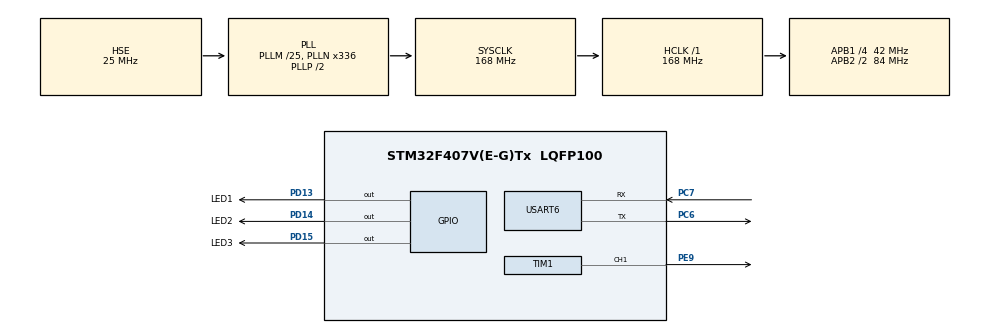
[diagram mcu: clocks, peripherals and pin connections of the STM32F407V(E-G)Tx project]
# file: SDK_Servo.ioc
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Mcu.Family=STM32F4
Mcu.Name=STM32F407V(E-G)Tx
Mcu.Package=LQFP100
NVIC.PriorityGroup=NVIC_PRIORITYGROUP_4
PA13.Mode=JTAG_5_pins
PA13.Signal=SYS_JTMS-SWDIO
PA14.Mode=JTAG_5_pins
PA14.Signal=SYS_JTCK-SWCLK
PA15.Mode=JTAG_5_pins
PA15.Signal=SYS_JTDI
PB3.Mode=JTAG_5_pins
PB3.Signal=SYS_JTDO-SWO
PB4.Mode=JTAG_5_pins
PB4.Signal=SYS_JTRST
PC6.Mode=Asynchronous
PC6.Signal=USART6_TX
PC7.Mode=Asynchronous
PC7.Signal=USART6_RX
PD13.GPIO_Label=LED1
PD13.Signal=GPIO_Output
PD14.GPIO_Label=LED2
PD14.Signal=GPIO_Output
PD15.GPIO_Label=LED3
PD15.Signal=GPIO_Output
PE9.GPIO_Speed=GPIO_SPEED_FREQ_HIGH
PE9.Signal=S_TIM1_CH1
PH0-OSC_IN.Mode=HSE-External-Oscillator
PH0-OSC_IN.Signal=RCC_OSC_IN
PH1-OSC_OUT.Mode=HSE-External-Oscillator
PH1-OSC_OUT.Signal=RCC_OSC_OUT
ProjectManager.HeapSize=0x200
ProjectManager.StackSize=0x400
ProjectManager.TargetToolchain=SW4STM32
RCC.48MHZClocksFreq_Value=84000000
RCC.AHBFreq_Value=168000000
RCC.APB1CLKDivider=RCC_HCLK_DIV4
RCC.APB1Freq_Value=42000000
RCC.APB1TimFreq_Value=84000000
RCC.APB2CLKDivider=RCC_HCLK_DIV2
RCC.APB2Freq_Value=84000000
RCC.APB2TimFreq_Value=168000000
RCC.CortexFreq_Value=168000000
RCC.HCLKFreq_Value=168000000
RCC.HSE_VALUE=25000000
RCC.HSI_VALUE=16000000
RCC.LSE_VALUE=32768
RCC.PLLM=25
RCC.PLLN=336
RCC.PLLSourceVirtual=RCC_PLLSOURCE_HSE
RCC.SYSCLKFreq_VALUE=168000000
RCC.SYSCLKSource=RCC_SYSCLKSOURCE_PLLCLK
RCC.VCOOutputFreq_Value=336000000
SH.S_TIM1_CH1.0=TIM1_CH1,PWM Generation1 CH1
TIM1.Channel-PWM\ Generation1\ CH1=TIM_CHANNEL_1
TIM1.Period=19999
TIM1.Prescaler=167
USART6.VirtualMode=VM_ASYNC
VP_TIM1_VS_ClockSourceINT.Mode=Internal
board=custom

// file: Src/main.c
/* USER CODE BEGIN Header */
/**
  ******************************************************************************
  * @file           : main.c
  * @brief          : Main program body
  ******************************************************************************
  * @attention
  *
  * <h2><center>&copy; Copyright (c) 2019 STMicroelectronics.
  * All rights reserved.</center></h2>
  *
  * This software component is licensed by ST under BSD 3-Clause license,
  * the "License"; You may not use this file except in compliance with the
  * License. You may obtain a copy of the License at:
  *                        opensource.org/licenses/BSD-3-Clause
  *
  ******************************************************************************
  */
/* USER CODE END Header */

#include "main.h"
#include "tim.h"
#include "usart.h"
#include "gpio.h"

void SystemClock_Config(void);
/* USER CODE BEGIN PFP */
void Toggle_Led(void);
void SRV_SetAngle(uint16_t o);
/* USER CODE END PFP */

int main(void)
{

  /* MCU Configuration--------------------------------------------------------*/

  /* Reset of all peripherals, Initializes the Flash interface and the Systick. */
  HAL_Init();

  /* Configure the system clock */
  SystemClock_Config();

  /* Initialize all configured peripherals */
  MX_GPIO_Init();
  MX_USART6_UART_Init();
  MX_TIM1_Init();
  /* USER CODE BEGIN 2 */
  HAL_TIM_OC_Start(&htim1, TIM_CHANNEL_1);
  HAL_TIMEx_PWMN_Start(&htim1, TIM_CHANNEL_1);
  HAL_GPIO_WritePin(LED3_GPIO_Port, LED3_Pin, GPIO_PIN_SET);
  HAL_GPIO_WritePin(LED1_GPIO_Port, LED1_Pin, GPIO_PIN_RESET);
  /* USER CODE END 2 */

  /* Infinite loop */
  while (1)
  {

    /* USER CODE BEGIN 3 */
	  SRV_SetAngle(0);
	  Toggle_Led();
	  HAL_Delay(1000);
	  SRV_SetAngle(180);
	  Toggle_Led();
	  HAL_Delay(1000);
  }
  /* USER CODE END 3 */
}

void SystemClock_Config(void)
{
  RCC_OscInitTypeDef RCC_OscInitStruct = {0};
  RCC_ClkInitTypeDef RCC_ClkInitStruct = {0};

  /** Configure the main internal regulator output voltage
  */
  __HAL_RCC_PWR_CLK_ENABLE();
  __HAL_PWR_VOLTAGESCALING_CONFIG(PWR_REGULATOR_VOLTAGE_SCALE1);
  /** Initializes the CPU, AHB and APB busses clocks
  */
  RCC_OscInitStruct.OscillatorType = RCC_OSCILLATORTYPE_HSE;
  RCC_OscInitStruct.HSEState = RCC_HSE_ON;
  RCC_OscInitStruct.PLL.PLLState = RCC_PLL_ON;
  RCC_OscInitStruct.PLL.PLLSource = RCC_PLLSOURCE_HSE;
  RCC_OscInitStruct.PLL.PLLM = 25;
  RCC_OscInitStruct.PLL.PLLN = 336;
  RCC_OscInitStruct.PLL.PLLP = RCC_PLLP_DIV2;
  RCC_OscInitStruct.PLL.PLLQ = 4;
  if (HAL_RCC_OscConfig(&RCC_OscInitStruct) != HAL_OK)
  {
    Error_Handler();
  }
  /** Initializes the CPU, AHB and APB busses clocks
  */
  RCC_ClkInitStruct.ClockType = RCC_CLOCKTYPE_HCLK|RCC_CLOCKTYPE_SYSCLK
                              |RCC_CLOCKTYPE_PCLK1|RCC_CLOCKTYPE_PCLK2;
  RCC_ClkInitStruct.SYSCLKSource = RCC_SYSCLKSOURCE_PLLCLK;
  RCC_ClkInitStruct.AHBCLKDivider = RCC_SYSCLK_DIV1;
  RCC_ClkInitStruct.APB1CLKDivider = RCC_HCLK_DIV4;
  RCC_ClkInitStruct.APB2CLKDivider = RCC_HCLK_DIV2;

  if (HAL_RCC_ClockConfig(&RCC_ClkInitStruct, FLASH_LATENCY_5) != HAL_OK)
  {
    Error_Handler();
  }
}

/* USER CODE BEGIN 4 */
void Toggle_Led(void){
	HAL_GPIO_TogglePin(LED3_GPIO_Port, LED3_Pin);
	HAL_GPIO_TogglePin(LED1_GPIO_Port, LED1_Pin);
}
/**
  * @brief  This function controls the angle of rotation of the servo.
  * @param	o: Rotation angle from 0 to 180.
  */
void SRV_SetAngle(uint16_t o){
	TIM1->CCR1 = 850 + o * 10;
}
/* USER CODE END 4 */

void Error_Handler(void)
{
}

/************************ (C) COPYRIGHT STMicroelectronics *****END OF FILE****/
